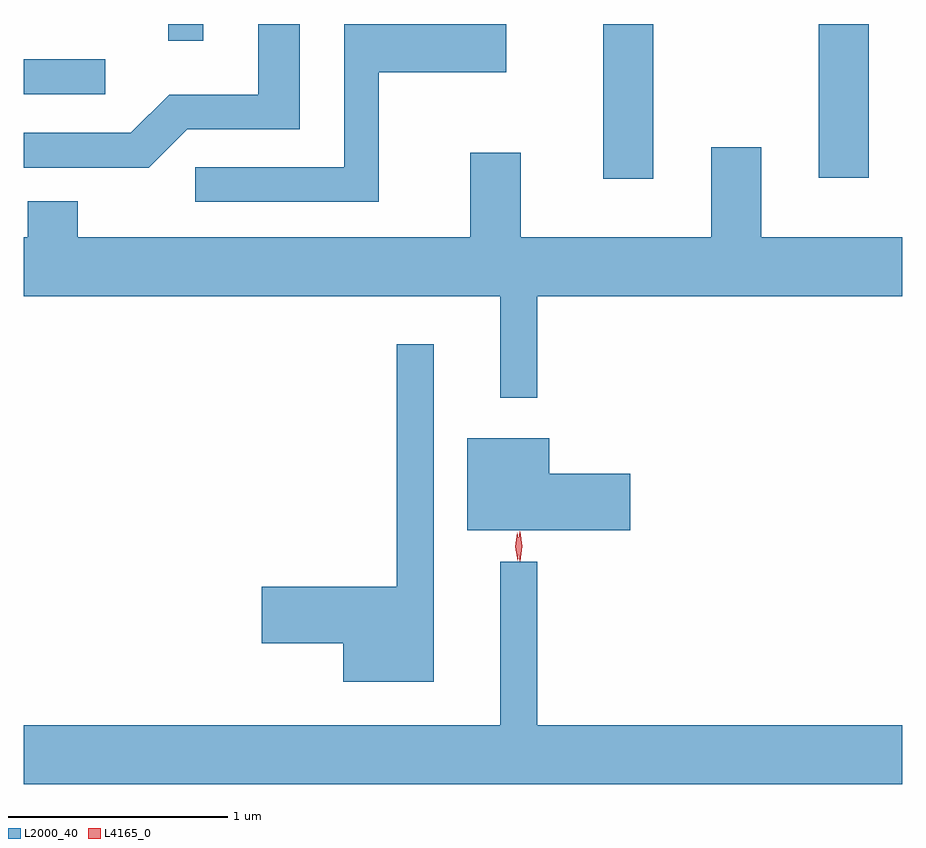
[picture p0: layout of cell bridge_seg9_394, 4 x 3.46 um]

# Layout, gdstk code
import gdstk
lib = gdstk.Library(unit=1e-6, precision=1e-09)
def R(c, l, rs):  # rectangles x0, y0, x1, y1
    for r in rs: c.add(gdstk.rectangle(r[:2], r[2:], *l))
def P(c, l, *ps):  # polygons
    for p in ps: c.add(gdstk.Polygon(p, *l))
L2000_40 = (2000, 40)
L4165_0 = (4165, 0)

bridge_seg9_394 = lib.new_cell('bridge_seg9_394')
R(bridge_seg9_394, L2000_40, [(491.391,2032.311,491.619,2033.015), (492.371,2032.316,492.599,2033.015), (488.752,2032.696,489.123,2032.854), (489.411,2032.938,489.569,2033.015)])
P(bridge_seg9_394, L2000_40, [(489.497,2032.536),(490.009,2032.536),(490.009,2033.015),(489.821,2033.015),(489.821,2032.694),(489.414,2032.694),(489.239,2032.519),(488.752,2032.519),(488.752,2032.361),(489.322,2032.361)],
  [(490.369,2032.796),(490.949,2032.796),(490.949,2033.015),(490.211,2033.015),(490.211,2032.364),(489.533,2032.364),(489.533,2032.206),(490.369,2032.206)],
  [(491.089,2031.776),(492.752,2031.776),(492.752,2032.044),(492.109,2032.044),(492.109,2032.454),(491.881,2032.454),(491.881,2032.044),(491.014,2032.044),(491.014,2032.429),(490.786,2032.429),(490.786,2032.044),(488.999,2032.044),(488.999,2032.209),(488.771,2032.209),(488.771,2032.044),(488.752,2032.044),(488.752,2031.776),(490.921,2031.776),(490.921,2031.313),(491.089,2031.313)],
  [(490.619,2031.558),(490.451,2031.558),(490.451,2030.454),(489.836,2030.454),(489.836,2030.196),(490.206,2030.196),(490.206,2030.021),(490.619,2030.021)],
  [(491.514,2030.969),(491.144,2030.969),(491.144,2031.129),(490.771,2031.129),(490.771,2030.711),(491.514,2030.711)],
  [(492.752,2029.824),(491.089,2029.824),(491.089,2030.568),(490.921,2030.568),(490.921,2029.824),(488.752,2029.824),(488.752,2029.556),(492.752,2029.556)])
P(bridge_seg9_394, L4165_0, [(491.011,2030.57),(491.011,2030.57),(491.001,2030.638),(491.011,2030.705),(491.011,2030.706),(491.012,2030.705),(491.021,2030.638),(491.012,2030.57)],
  [(491.001,2030.573),(491.001,2030.573),(490.99,2030.636),(490.999,2030.699),(491,2030.7),(491,2030.699),(491.01,2030.636),(491.002,2030.573)])

lib.write_gds('bridge_seg9_394.gds')
